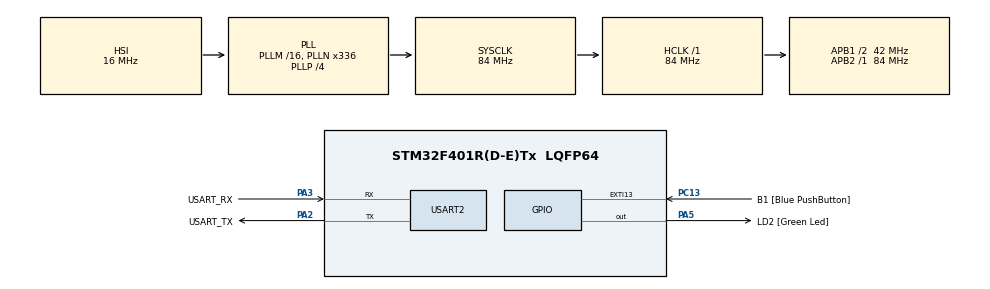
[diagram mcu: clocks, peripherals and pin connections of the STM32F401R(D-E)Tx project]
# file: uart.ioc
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Mcu.Family=STM32F4
Mcu.Name=STM32F401R(D-E)Tx
Mcu.Package=LQFP64
NVIC.PriorityGroup=NVIC_PRIORITYGROUP_0
NVIC.USART2_IRQn=true\:0\:1\:false\:false\:true\:true\:true
PA13.GPIO_Label=TMS
PA13.Mode=Serial_Wire
PA13.Signal=SYS_JTMS-SWDIO
PA14.GPIO_Label=TCK
PA14.Mode=Serial_Wire
PA14.Signal=SYS_JTCK-SWCLK
PA2.GPIO_Label=USART_TX
PA2.GPIO_Mode=GPIO_MODE_AF_PP
PA2.GPIO_PuPd=GPIO_NOPULL
PA2.GPIO_Speed=GPIO_SPEED_FREQ_LOW
PA2.Mode=Asynchronous
PA2.Signal=USART2_TX
PA3.GPIO_Label=USART_RX
PA3.GPIO_Mode=GPIO_MODE_AF_PP
PA3.GPIO_PuPd=GPIO_NOPULL
PA3.GPIO_Speed=GPIO_SPEED_FREQ_LOW
PA3.Mode=Asynchronous
PA3.Signal=USART2_RX
PA5.GPIO_Label=LD2 [Green Led]
PA5.GPIO_Mode=GPIO_MODE_OUTPUT_PP
PA5.GPIO_PuPd=GPIO_NOPULL
PA5.GPIO_Speed=GPIO_SPEED_FREQ_LOW
PA5.Signal=GPIO_Output
PB3.GPIO_Label=SWO
PB3.Signal=SYS_JTDO-SWO
PC13-ANTI_TAMP.GPIO_Label=B1 [Blue PushButton]
PC13-ANTI_TAMP.GPIO_ModeDefaultEXTI=GPIO_MODE_IT_FALLING
PC13-ANTI_TAMP.GPIO_PuPd=GPIO_NOPULL
PC13-ANTI_TAMP.Signal=GPXTI13
PC14-OSC32_IN.Mode=LSE-External-Oscillator
PC14-OSC32_IN.Signal=RCC_OSC32_IN
PC15-OSC32_OUT.Mode=LSE-External-Oscillator
PC15-OSC32_OUT.Signal=RCC_OSC32_OUT
PH0\ -\ OSC_IN.Mode=HSE-External-Clock-Source
PH0\ -\ OSC_IN.Signal=RCC_OSC_IN
PH1\ -\ OSC_OUT.Mode=HSE-External-Clock-Source
PH1\ -\ OSC_OUT.Signal=RCC_OSC_OUT
ProjectManager.HeapSize=0x200
ProjectManager.StackSize=0x400
ProjectManager.TargetToolchain=TrueSTUDIO
RCC.48MHZClocksFreq_Value=48000000
RCC.AHBFreq_Value=84000000
RCC.APB1CLKDivider=RCC_HCLK_DIV2
RCC.APB1Freq_Value=42000000
RCC.APB1TimFreq_Value=84000000
RCC.APB2Freq_Value=84000000
RCC.APB2TimFreq_Value=84000000
RCC.CortexFreq_Value=84000000
RCC.HCLKFreq_Value=84000000
RCC.HSE_VALUE=8000000
RCC.HSI_VALUE=16000000
RCC.PLLN=336
RCC.PLLP=RCC_PLLP_DIV4
RCC.PLLQ=7
RCC.SYSCLKFreq_VALUE=84000000
RCC.SYSCLKSource=RCC_SYSCLKSOURCE_PLLCLK
RCC.VCOOutputFreq_Value=336000000
USART2.VirtualMode=VM_ASYNC
board=NUCLEO-F401RE

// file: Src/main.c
/* USER CODE BEGIN Header */
/**
  ******************************************************************************
  * @file           : main.c
  * @brief          : Main program body
  ******************************************************************************
  * @attention
  *
  * <h2><center>&copy; Copyright (c) 2019 STMicroelectronics.
  * All rights reserved.</center></h2>
  *
  * This software component is licensed by ST under BSD 3-Clause license,
  * the "License"; You may not use this file except in compliance with the
  * License. You may obtain a copy of the License at:
  *                        opensource.org/licenses/BSD-3-Clause
  *
  ******************************************************************************
  */
/* USER CODE END Header */

#include "main.h"

/* USER CODE BEGIN Includes */
#include <string.h>
/* USER CODE END Includes */

UART_HandleTypeDef huart2;

void SystemClock_Config(void);
static void MX_GPIO_Init(void);
static void MX_USART2_UART_Init(void);

/* USER CODE BEGIN 0 */
__IO uint8_t uart_status;
uint8_t uartbuff[8];
/* USER CODE END 0 */

int main(void)
{

  /* MCU Configuration--------------------------------------------------------*/

  /* Reset of all peripherals, Initializes the Flash interface and the Systick. */
  HAL_Init();

  /* Configure the system clock */
  SystemClock_Config();

  /* Initialize all configured peripherals */
  MX_GPIO_Init();
  MX_USART2_UART_Init();

  /* Infinite loop */
  /* USER CODE BEGIN WHILE */
  while (1)
  {
	  uart_status = 0;
	  memset( uartbuff, 0x00, sizeof(uartbuff));
	  if(HAL_UART_Receive_IT(&huart2, uartbuff,1)==HAL_OK){
		  while(uart_status!=3){
			  switch( uart_status){
			  case 0:break;
			  case 1:
				  uart_status = 2;
				  HAL_UART_Transmit_IT( &huart2, uartbuff, strlen((char const*)uartbuff));
				  break;
			  case 2:break;
			  case 3:break;
			  }
		  }
	  }
    /* USER CODE END WHILE */

  }
}

void SystemClock_Config(void)
{
  RCC_OscInitTypeDef RCC_OscInitStruct = {0};
  RCC_ClkInitTypeDef RCC_ClkInitStruct = {0};

  /** Configure the main internal regulator output voltage
  */
  __HAL_RCC_PWR_CLK_ENABLE();
  __HAL_PWR_VOLTAGESCALING_CONFIG(PWR_REGULATOR_VOLTAGE_SCALE2);
  /** Initializes the CPU, AHB and APB busses clocks
  */
  RCC_OscInitStruct.OscillatorType = RCC_OSCILLATORTYPE_HSI;
  RCC_OscInitStruct.HSIState = RCC_HSI_ON;
  RCC_OscInitStruct.HSICalibrationValue = RCC_HSICALIBRATION_DEFAULT;
  RCC_OscInitStruct.PLL.PLLState = RCC_PLL_ON;
  RCC_OscInitStruct.PLL.PLLSource = RCC_PLLSOURCE_HSI;
  RCC_OscInitStruct.PLL.PLLM = 16;
  RCC_OscInitStruct.PLL.PLLN = 336;
  RCC_OscInitStruct.PLL.PLLP = RCC_PLLP_DIV4;
  RCC_OscInitStruct.PLL.PLLQ = 7;
  if (HAL_RCC_OscConfig(&RCC_OscInitStruct) != HAL_OK)
  {
    Error_Handler();
  }
  /** Initializes the CPU, AHB and APB busses clocks
  */
  RCC_ClkInitStruct.ClockType = RCC_CLOCKTYPE_HCLK|RCC_CLOCKTYPE_SYSCLK
                              |RCC_CLOCKTYPE_PCLK1|RCC_CLOCKTYPE_PCLK2;
  RCC_ClkInitStruct.SYSCLKSource = RCC_SYSCLKSOURCE_PLLCLK;
  RCC_ClkInitStruct.AHBCLKDivider = RCC_SYSCLK_DIV1;
  RCC_ClkInitStruct.APB1CLKDivider = RCC_HCLK_DIV2;
  RCC_ClkInitStruct.APB2CLKDivider = RCC_HCLK_DIV1;

  if (HAL_RCC_ClockConfig(&RCC_ClkInitStruct, FLASH_LATENCY_2) != HAL_OK)
  {
    Error_Handler();
  }
}

static void MX_USART2_UART_Init(void)
{

  huart2.Instance = USART2;
  huart2.Init.BaudRate = 115200;
  huart2.Init.WordLength = UART_WORDLENGTH_8B;
  huart2.Init.StopBits = UART_STOPBITS_1;
  huart2.Init.Parity = UART_PARITY_NONE;
  huart2.Init.Mode = UART_MODE_TX_RX;
  huart2.Init.HwFlowCtl = UART_HWCONTROL_NONE;
  huart2.Init.OverSampling = UART_OVERSAMPLING_16;
  if (HAL_UART_Init(&huart2) != HAL_OK)
  {
    Error_Handler();
  }

}

static void MX_GPIO_Init(void)
{
  GPIO_InitTypeDef GPIO_InitStruct = {0};

  /* GPIO Ports Clock Enable */
  __HAL_RCC_GPIOC_CLK_ENABLE();
  __HAL_RCC_GPIOH_CLK_ENABLE();
  __HAL_RCC_GPIOA_CLK_ENABLE();
  __HAL_RCC_GPIOB_CLK_ENABLE();

  /*Configure GPIO pin Output Level */
  HAL_GPIO_WritePin(LD2_GPIO_Port, LD2_Pin, GPIO_PIN_RESET);

  /*Configure GPIO pin : B1_Pin */
  GPIO_InitStruct.Pin = B1_Pin;
  GPIO_InitStruct.Mode = GPIO_MODE_IT_FALLING;
  GPIO_InitStruct.Pull = GPIO_NOPULL;
  HAL_GPIO_Init(B1_GPIO_Port, &GPIO_InitStruct);

  /*Configure GPIO pin : LD2_Pin */
  GPIO_InitStruct.Pin = LD2_Pin;
  GPIO_InitStruct.Mode = GPIO_MODE_OUTPUT_PP;
  GPIO_InitStruct.Pull = GPIO_NOPULL;
  GPIO_InitStruct.Speed = GPIO_SPEED_FREQ_LOW;
  HAL_GPIO_Init(LD2_GPIO_Port, &GPIO_InitStruct);

}

/* USER CODE BEGIN 4 */
void HAL_UART_RxCpltCallback(UART_HandleTypeDef *huart)
{
	if( &huart2 == huart)
	{
		uart_status = 1;
	}
}
void HAL_UART_TxCpltCallback(UART_HandleTypeDef *huart)
{
	if( &huart2 == huart)
	{
		uart_status = 3;
	}
}
/* USER CODE END 4 */

void Error_Handler(void)
{
}

/************************ (C) COPYRIGHT STMicroelectronics *****END OF FILE****/
